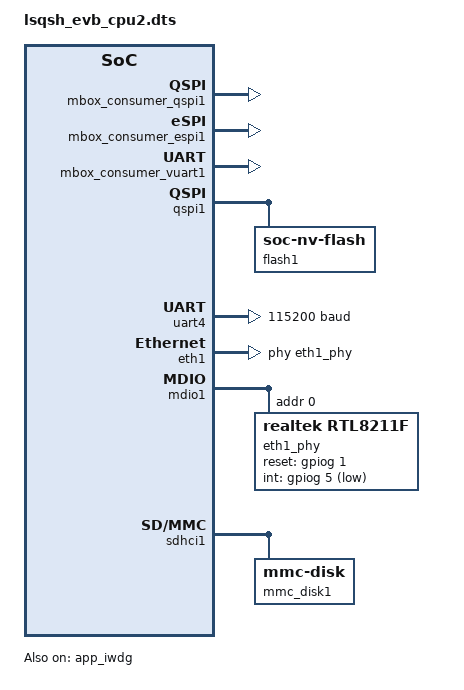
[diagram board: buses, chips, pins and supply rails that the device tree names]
/*
 * Copyright (c) 2025 linkedsemi
 * SPDX-License-Identifier: Apache-2.0
 */

/dts-v1/;
#include <riscv/linkedsemi/lsqsh.dtsi>
#include "lsqsh_evb_pinctrl.dtsi"

#define BTN_GPIO_FLAGS (GPIO_ACTIVE_HIGH | GPIO_PULL_UP)

&chosen {
    zephyr,flash-controller = &qspi1;
    zephyr,console = &uart4;
    zephyr,shell-uart = &uart4;
};

&aliases {
    sdhc0 = &sdhci1;
    watchdog0=&app_iwdg;
};

&soc {
    driver_share_memory: memory@100be000 {
        compatible = "zephyr,memory-region", "mmio-sram";
        reg = <0x100be000 0xffc>;
        zephyr,memory-region = "SHMEM";
    };

    driver_reset_reason: memory@100beffc {
        compatible = "zephyr,memory-region", "mmio-sram";
        reg = <0x100beffc 0x4>;
        zephyr,memory-region = "RESET_REASON";
    };

    mbox_memory: memory@100bf000 {
        compatible = "zephyr,memory-region", "mmio-sram";
        reg = <0x100bf000 DT_SIZE_K(4)>;
        zephyr,memory-region = "MBOX";
    };

    mbox: mbox {
        compatible = "linkedsemi,mbox";
        #mbox-cells = <3>;
        interrupts = <SYSC_APP_CPU_IRQN 3>;

        mbox_consumer_qspi1: mbox-consumer_qspi1 {
            compatible = "vnd,mbox-consumer";
            mboxes = <&mbox 0 24 1>, <&mbox 0 24 1>;
            mbox-names = "tx", "rx";
        };
        mbox_consumer_otbn_crypto: mbox-consumer_otbn_crypto {
            compatible = "vnd,mbox-consumer";
            mboxes = <&mbox 1 32 1>, <&mbox 1 32 1>;
            mbox-names = "tx", "rx";
        };
        mbox_consumer_espi1: mbox-consumer_espi1 {
            compatible = "vnd,mbox-consumer";
            mboxes = <&mbox 2 8 1>, <&mbox 2 8 1>;
            mbox-names = "tx", "rx";
        };
        mbox_consumer_vuart1: mbox-consumer_vuart1 {
            compatible = "vnd,mbox-consumer";
            mboxes = <&mbox 3 8 1>, <&mbox 3 8 1>;
            mbox-names = "tx", "rx";
        };
    };

    qspi1: qspi@40000000 {
        compatible = "linkedsemi,ls-flash-delegation-client";
        reg = <0x40000000 0x400>;
        #address-cells = <1>;
        #size-cells = <1>;
        interrupts = <3 3>;
        mbox = <&mbox_consumer_qspi1>;

        flash1: flash@8000000 {
            compatible = "soc-nv-flash";
            reg = <0x8000000 DT_SIZE_M(32)>;
            erase-block-size = <4096>;
            write-block-size = <4>;
        };
    };
};

&cpu1 {
    status = "disabled";
};

&cpu2 {
    status = "okay";
};

&uart1 {
    current-speed = <115200>;
    status = "disabled";
};

&uart2 {
    current-speed = <115200>;
    status = "disabled";
};

&uart3 {
    current-speed = <115200>;
    status = "disabled";
};

&uart4 {
    current-speed = <115200>;
    status = "okay";
};

&uart5 {
    current-speed = <115200>;
    status = "disabled";
};

&app_iwdg {
    status = "okay";
};

&psram {
    status = "okay";
};

&gpioa {
    status = "okay";
};

&gpiob {
    status = "okay";
};

&gpioc {
    status = "okay";
};

&gpiod {
    status = "okay";
};

&gpioe {
    status = "okay";
};

&gpiof {
    status = "okay";
};

&gpiog {
    status = "okay";
};

&gpioh {
    status = "okay";
};

&gpioi {
    status = "okay";
};

&gpioj {
    status = "okay";
};

&gpiok {
    status = "okay";
};

&gpiom {
    status = "okay";
};

&gpion {
    status = "okay";
};

&gpioq {
    status = "okay";
};

&gpiot {
    status = "okay";
};

&eth1 {
    phy-handle = <&eth1_phy>;
    status = "okay";
};

&mdio1 {
    status = "okay";
    eth1_phy: ethernet-phy@0 {
        compatible = "realtek,rtl8211f";
        reg = <0>;
        reset-gpios = <&gpiog 1 GPIO_ACTIVE_HIGH>;
        int-gpios = <&gpiog 5 GPIO_ACTIVE_LOW>;
        status = "okay";
    };
};

&sdhci1 {
    status = "okay";

    mmc_disk1: disk {
        compatible = "zephyr,mmc-disk";
        /* samples/subsys/fs/fs_sample/ assert disk-name to SD2 */
        disk-name = "SD2";
        bus-width = <1>;
        status = "okay";
    };
};
